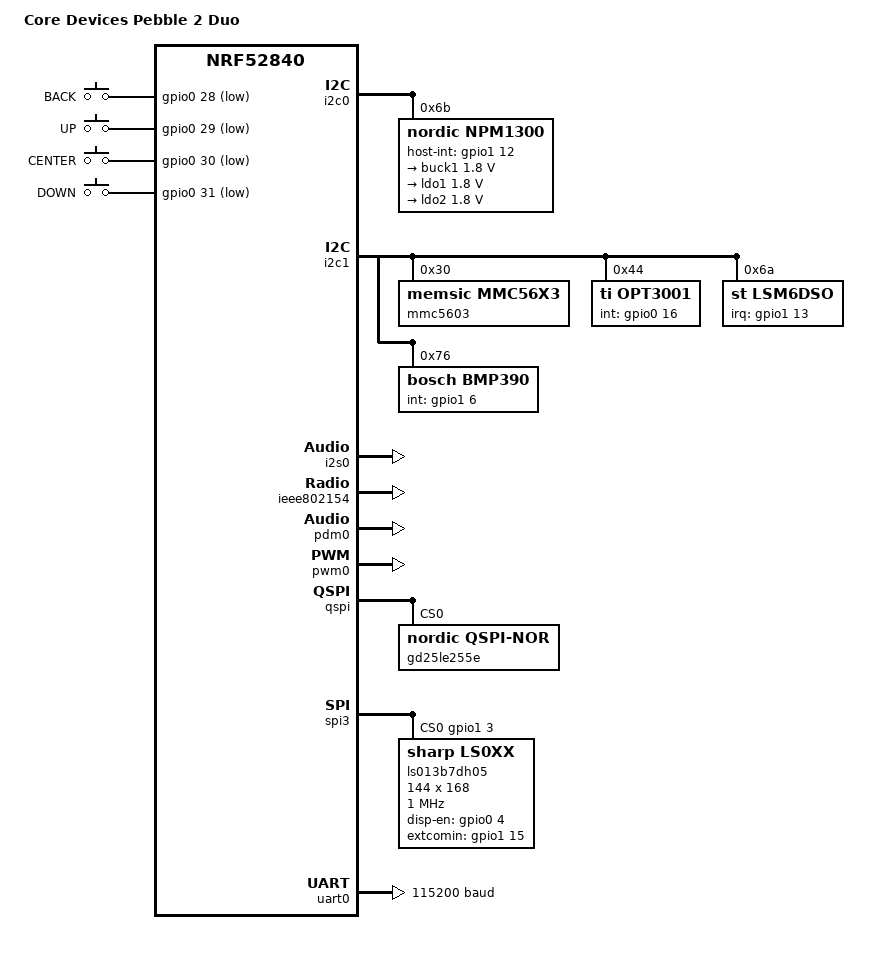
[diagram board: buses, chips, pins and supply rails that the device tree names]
/*
 * Copyright (c) 2025 Core Devices LLC
 * SPDX-License-Identifier: Apache-2.0
 */

/dts-v1/;

#include <nordic/nrf52840_qiaa.dtsi>
#include <nordic/nrf52840_partition.dtsi>
#include "p2d-pinctrl.dtsi"

#include <zephyr/dt-bindings/input/input-event-codes.h>
#include <zephyr/dt-bindings/regulator/npm13xx.h>
#include <zephyr/dt-bindings/sensor/lsm6dso.h>

/ {
	model = "Core Devices Pebble 2 Duo";
	compatible = "coredevices,p2d";

	chosen {
		zephyr,console = &uart0;
		zephyr,bt-mon-uart = &uart0;
		zephyr,bt-c2h-uart = &uart0;
		zephyr,display = &ls013b7dh05;
		zephyr,ieee802154 = &ieee802154;
		zephyr,shell-uart = &uart0;
		zephyr,uart-mcumgr = &uart0;
	};

	buttons: buttons {
		compatible = "gpio-keys";

		btn_back: button-back {
			gpios = <&gpio0 28 (GPIO_PULL_UP | GPIO_ACTIVE_LOW)>;
			label = "BACK";
			zephyr,code = <INPUT_KEY_BACK>;
		};

		btn_up: button-up {
			gpios = <&gpio0 29 (GPIO_PULL_UP | GPIO_ACTIVE_LOW)>;
			label = "UP";
			zephyr,code = <INPUT_KEY_UP>;
		};

		btn_center: button-center {
			gpios = <&gpio0 30 (GPIO_PULL_UP | GPIO_ACTIVE_LOW)>;
			label = "CENTER";
			zephyr,code = <INPUT_KEY_ENTER>;
		};

		btn_down: button-down {
			gpios = <&gpio0 31 (GPIO_PULL_UP | GPIO_ACTIVE_LOW)>;
			label = "DOWN";
			zephyr,code = <INPUT_KEY_DOWN>;
		};
	};

	aliases {
		accel0 = &lsm6dso;
		sw0 = &btn_back;
		sw1 = &btn_up;
		sw2 = &btn_center;
		sw3 = &btn_down;
		magn0 = &mmc5603;
		mcuboot-button0 = &btn_back;
		pressure-sensor = &bmp390;
		watchdog0 = &wdt0;
	};
};

&gpiote {
	status = "okay";
};

&gpio0 {
	status = "okay";
};

&gpio1 {
	status = "okay";
};

&i2c0 {
	compatible = "nordic,nrf-twim";
	status = "okay";
	pinctrl-0 = <&i2c0_default>;
	pinctrl-1 = <&i2c0_sleep>;
	pinctrl-names = "default", "sleep";

	npm1300: pmic@6b {
		compatible = "nordic,npm1300";
		reg = <0x6b>;
		pmic-int-pin = <1>;
		host-int-gpios = <&gpio1 12 GPIO_ACTIVE_HIGH>;

		regulators {
			compatible = "nordic,npm1300-regulator";

			buck1: BUCK1 {
				regulator-min-microvolt = <1800000>;
				regulator-max-microvolt = <1800000>;
				regulator-boot-on;
			};

			ldo1: LDO1 {
				regulator-min-microvolt = <1800000>;
				regulator-max-microvolt = <1800000>;
				regulator-allowed-modes = <NPM13XX_LDSW_MODE_LDO>;
				regulator-initial-mode = <NPM13XX_LDSW_MODE_LDO>;
				regulator-init-microvolt = <1800000>;
				regulator-boot-on;
			};

			ldo2: LDO2 {
				regulator-min-microvolt = <1800000>;
				regulator-max-microvolt = <1800000>;
				regulator-allowed-modes = <NPM13XX_LDSW_MODE_LDO>;
				regulator-initial-mode = <NPM13XX_LDSW_MODE_LDO>;
				regulator-init-microvolt = <1800000>;
				regulator-boot-on;
			};
		};

		charger: charger {
			compatible = "nordic,npm1300-charger";
			term-microvolt = <4150000>;
			term-warm-microvolt = <4000000>;
			current-microamp = <150000>;
			dischg-limit-microamp = <1000000>;
			vbus-limit-microamp = <500000>;
			thermistor-ohms = <10000>;
			thermistor-beta = <3380>;
			charging-enable;
		};
	};
};

&i2c1 {
	compatible = "nordic,nrf-twim";
	status = "okay";
	pinctrl-0 = <&i2c1_default>;
	pinctrl-1 = <&i2c1_sleep>;
	pinctrl-names = "default", "sleep";

	mmc5603: magnetic-sensor@30 {
		compatible = "memsic,mmc56x3";
		reg = <0x30>;
		magn-odr = <0>;
	};

	opt3001: light-sensor@44 {
		compatible = "ti,opt3001";
		reg = <0x44>;
		int-gpios = <&gpio0 16 GPIO_ACTIVE_HIGH>;
	};

	lsm6dso: imu-sensor@6a {
		compatible = "st,lsm6dso";
		reg = <0x6a>;
		irq-gpios = <&gpio1 13 GPIO_ACTIVE_HIGH>;
		accel-pm = <LSM6DSO_DT_XL_ULP_MODE>;
		gyro-pm = <LSM6DSO_DT_GY_NORMAL_MODE>;
	};

	bmp390: pressure-sensor@76 {
		compatible = "bosch,bmp390";
		reg = <0x76>;
		odr = "50";
		int-gpios = <&gpio1 6 GPIO_ACTIVE_HIGH>;
	};
};

&i2s0 {
	compatible = "nordic,nrf-i2s";
	status = "okay";
	pinctrl-0 = <&i2s0_default>;
	pinctrl-1 = <&i2s0_sleep>;
	pinctrl-names = "default", "sleep";
};

&ieee802154 {
	status = "okay";
};

&pdm0 {
	status = "okay";
	pinctrl-0 = <&pdm0_default>;
	pinctrl-names = "default";
	clock-source = "PCLK32M_HFXO";
};

&pwm0 {
	status = "okay";
	pinctrl-0 = <&pwm0_default>;
	pinctrl-1 = <&pwm0_sleep>;
	pinctrl-names = "default", "sleep";
};

&qspi {
	status = "okay";
	pinctrl-0 = <&qspi_default>;
	pinctrl-1 = <&qspi_sleep>;
	pinctrl-names = "default", "sleep";

	gd25le255e: memory@0 {
		compatible = "nordic,qspi-nor";
		reg = <0>;
		writeoc = "pp4o";
		readoc = "read4io";
		sck-frequency = <8000000>;
		quad-enable-requirements = "S2B1v1";
		address-size-32;
		enter-4byte-addr = <0xb7>;
		jedec-id = [c8 60 19];
		sfdp-bfp = [e5 20 f3 ff ff ff ff 0f 44 eb 08 6b 08 3b 42 bb
			    fe ff ff ff ff ff 00 ff ff ff 42 eb 0c 20 0f 52
			    10 d8 00 ff d4 31 a5 fe 84 df 14 4f ec 62 16 33
			    7a 75 7a 75 04 b3 d5 5c 19 06 14 00 08 50 00 01];
		size = <DT_SIZE_M(256)>;
		has-dpd;
		t-enter-dpd = <3000>;
		t-exit-dpd = <20000>;
	};
};

&reg1 {
	regulator-initial-mode = <NRF5X_REG_MODE_LDO>;
};

&spi3 {
	compatible = "nordic,nrf-spim";
	status = "okay";
	cs-gpios = <&gpio1 3 GPIO_ACTIVE_HIGH>;
	pinctrl-0 = <&spi3_default>;
	pinctrl-1 = <&spi3_sleep>;
	pinctrl-names = "default", "sleep";
	zephyr,pm-device-runtime-auto;

	ls013b7dh05: display@0 {
		compatible = "sharp,ls0xx";
		reg = <0x0>;
		disp-en-gpios = <&gpio0 4 GPIO_ACTIVE_HIGH>;
		extcomin-gpios = <&gpio1 15 GPIO_ACTIVE_HIGH>;
		extcomin-frequency = <60>;
		spi-max-frequency = <DT_FREQ_M(1)>;
		height = <168>;
		width = <144>;
	};
};

&uart0 {
	status = "okay";
	current-speed = <115200>;
	pinctrl-0 = <&uart0_default>;
	pinctrl-1 = <&uart0_sleep>;
	pinctrl-names = "default", "sleep";
};

&uicr {
	gpio-as-nreset;
};
